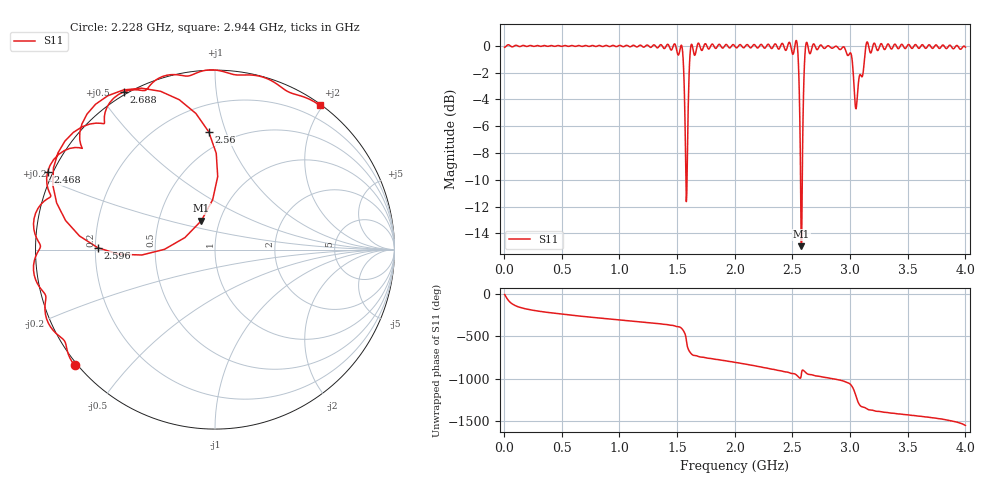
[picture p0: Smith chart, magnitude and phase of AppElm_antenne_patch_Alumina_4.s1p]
! TOUCHSTONE file generated by CST MICROWAVE STUDIO
! Date and time: Thu Jun  9 07:39:57 2022
! Project name: AppElm_antenne_patch_Alumina.cst
! Parameters = {L=30.5; W=37.62; e=0.035; h=1.6; lambda=0.190476; ls=90; w0=1.12; w1=0.373; ws=90; y0=14; y1=10}
! Header version: 2018
! Port assignment regex: !\s*Touchstone port\s*([0-9]+)\s*=\s*(CST MWS port|CST DS port)\s*([0-9]+|Zmin|Zmax)\s*\(\"(.*)\"\)(\s*mode\s*([0-9]+))?.*
! Touchstone port assignment:
! Touchstone port 1 = CST MWS port 1 ("")
# GHz S MA R 50
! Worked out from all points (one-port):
!   1000 points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, 4 MHz to 4 GHz, reference 50 ohm
!   lowest |S11| = -15.0 dB at 2.576 GHz (marker M1), VSWR 1.43, Z = 40.9 + j13.7 ohm
!   |S11| at or under -10 dB: 1.576 GHz to 1.586 GHz (9.619 MHz wide, 0.608 % of centre); 2.571 GHz to 2.585 GHz (14.59 MHz wide, 0.566 % of centre)
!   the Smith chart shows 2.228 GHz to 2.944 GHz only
!   S11 on the Smith chart (normalised r, x): 2.228 GHz: -0.01, -0.36; 2.468 GHz: -0.01, +0.22; 2.56 GHz: 0.38, +0.87; 2.596 GHz: 0.21, +0.01; 2.688 GHz: -0.01, +0.58; 2.944 GHz: 0.02, +1.96
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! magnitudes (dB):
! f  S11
! 4 MHz  -0.1
! 504 MHz  0.0
! 1.004 GHz  0.0
! 1.504 GHz  -0.6
! 1.544 GHz  -0.1
! 1.568 GHz  -5.5
! 1.58 GHz  -11.6
! 1.592 GHz  -6.5
! 1.612 GHz  -0.6
! 1.628 GHz  0.1
! 2.004 GHz  -0.1
! 2.228 GHz  0.1
! 2.468 GHz  0.2
! 2.504 GHz  -0.6
! 2.54 GHz  0.2
! 2.548 GHz  -0.6
! 2.56 GHz  -3.6
! 2.576 GHz  -15.0
! 2.596 GHz  -3.7
! 2.608 GHz  -0.7
! 2.62 GHz  0.2
! 2.688 GHz  0.1
! 2.944 GHz  -0.1
! 3.004 GHz  -0.5
! 3.052 GHz  -4.7
! 3.148 GHz  0.3
! 3.504 GHz  0.1
! 4 GHz  -0.1
